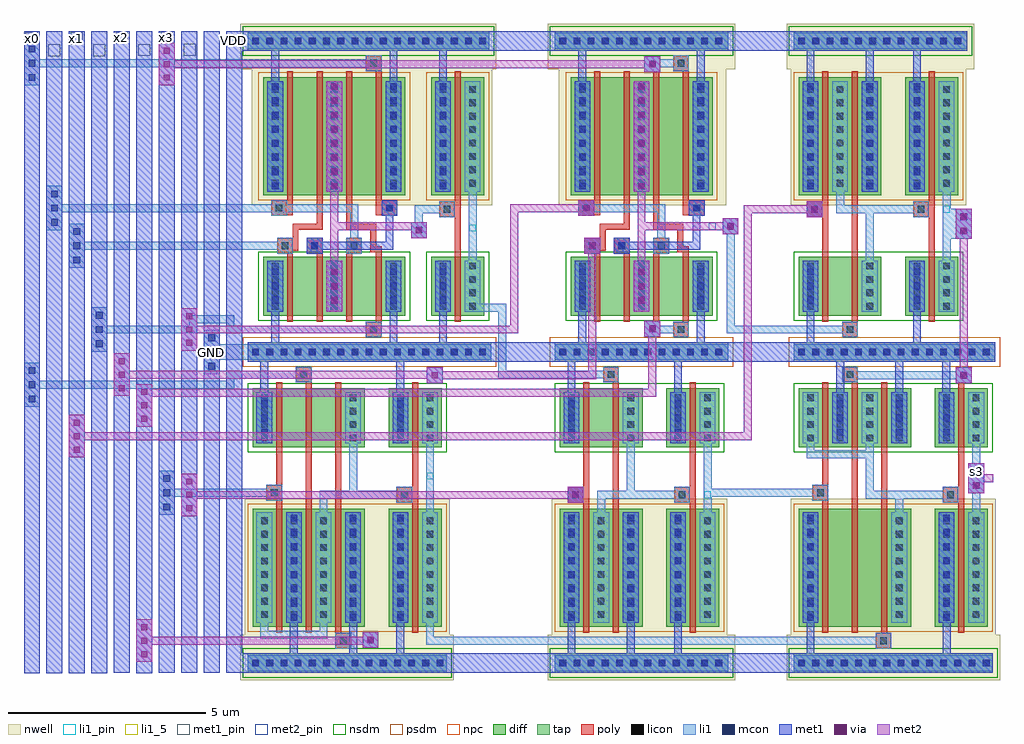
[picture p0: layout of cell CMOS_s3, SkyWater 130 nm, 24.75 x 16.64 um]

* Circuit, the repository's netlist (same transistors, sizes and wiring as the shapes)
* NGSPICE file created from CMOS_s3.ext - technology: sky130A

.subckt CMOS_AND GND AND A B VDD
X0 a_n265_0# B VDD VDD sky130_fd_pr__pfet_01v8 ad=1.8e+12p pd=7.2e+06u as=5.4e+12p ps=2.16e+07u w=3e+06u l=150000u
X1 VDD A a_n265_0# VDD sky130_fd_pr__pfet_01v8 ad=0p pd=0u as=0p ps=0u w=3e+06u l=150000u
X2 a_n265_0# A a_n265_n610# GND sky130_fd_pr__nfet_01v8 ad=9e+11p pd=4.2e+06u as=9e+11p ps=4.2e+06u w=1.5e+06u l=150000u
X3 AND a_n265_0# VDD VDD sky130_fd_pr__pfet_01v8 ad=1.8e+12p pd=7.2e+06u as=0p ps=0u w=3e+06u l=150000u
X4 a_n265_n610# B GND GND sky130_fd_pr__nfet_01v8 ad=0p pd=0u as=1.8e+12p ps=8.4e+06u w=1.5e+06u l=150000u
X5 AND a_n265_0# GND GND sky130_fd_pr__nfet_01v8 ad=9e+11p pd=4.2e+06u as=0p ps=0u w=1.5e+06u l=150000u
.ends

.subckt CMOS_3in_OR GND A B C OR VDD
X0 a_n480_n610# B GND GND sky130_fd_pr__nfet_01v8 ad=1.8e+12p pd=8.4e+06u as=2.7e+12p ps=1.26e+07u w=1.5e+06u l=150000u
X1 OR a_n480_n610# VDD VDD sky130_fd_pr__pfet_01v8 ad=1.8e+12p pd=7.2e+06u as=3.6e+12p ps=1.44e+07u w=3e+06u l=150000u
X2 a_n480_n610# C a_n180_0# VDD sky130_fd_pr__pfet_01v8 ad=1.8e+12p pd=7.2e+06u as=1.8e+12p ps=7.2e+06u w=3e+06u l=150000u
X3 GND A a_n480_n610# GND sky130_fd_pr__nfet_01v8 ad=0p pd=0u as=0p ps=0u w=1.5e+06u l=150000u
X4 OR a_n480_n610# GND GND sky130_fd_pr__nfet_01v8 ad=9e+11p pd=4.2e+06u as=0p ps=0u w=1.5e+06u l=150000u
X5 a_n330_0# A VDD VDD sky130_fd_pr__pfet_01v8 ad=1.8e+12p pd=7.2e+06u as=0p ps=0u w=3e+06u l=150000u
X6 a_n180_0# B a_n330_0# VDD sky130_fd_pr__pfet_01v8 ad=0p pd=0u as=0p ps=0u w=3e+06u l=150000u
X7 GND C a_n480_n610# GND sky130_fd_pr__nfet_01v8 ad=0p pd=0u as=0p ps=0u w=1.5e+06u l=150000u
.ends

.subckt CMOS_XNOR GND XNOR B A_bar A B_bar VDD
X0 XNOR a_n233_n610# GND GND sky130_fd_pr__nfet_01v8 ad=9e+11p pd=4.2e+06u as=2.7e+12p ps=1.26e+07u w=1.5e+06u l=150000u
X1 a_n383_n610# A GND GND sky130_fd_pr__nfet_01v8 ad=9e+11p pd=4.2e+06u as=0p ps=0u w=1.5e+06u l=150000u
X2 a_n233_n610# B a_n383_n610# GND sky130_fd_pr__nfet_01v8 ad=9e+11p pd=4.2e+06u as=0p ps=0u w=1.5e+06u l=150000u
X3 a_n383_0# B_bar VDD VDD sky130_fd_pr__pfet_01v8 ad=1.8e+12p pd=7.2e+06u as=5.4e+12p ps=2.16e+07u w=3e+06u l=150000u
X4 a_n233_n610# A a_n383_0# VDD sky130_fd_pr__pfet_01v8 ad=1.8e+12p pd=7.2e+06u as=0p ps=0u w=3e+06u l=150000u
X5 a_n83_0# A_bar a_n233_n610# VDD sky130_fd_pr__pfet_01v8 ad=1.8e+12p pd=7.2e+06u as=0p ps=0u w=3e+06u l=150000u
X6 a_n83_n610# B_bar a_n233_n610# GND sky130_fd_pr__nfet_01v8 ad=9e+11p pd=4.2e+06u as=0p ps=0u w=1.5e+06u l=150000u
X7 GND A_bar a_n83_n610# GND sky130_fd_pr__nfet_01v8 ad=0p pd=0u as=0p ps=0u w=1.5e+06u l=150000u
X8 XNOR a_n233_n610# VDD VDD sky130_fd_pr__pfet_01v8 ad=1.8e+12p pd=7.2e+06u as=0p ps=0u w=3e+06u l=150000u
X9 VDD B a_n83_0# VDD sky130_fd_pr__pfet_01v8 ad=0p pd=0u as=0p ps=0u w=3e+06u l=150000u
.ends

.subckt CMOS_3in_AND GND A B C OUT VDD
X0 a_n180_n610# B a_n330_n610# GND sky130_fd_pr__nfet_01v8 ad=9e+11p pd=4.2e+06u as=9e+11p ps=4.2e+06u w=1.5e+06u l=150000u
X1 OUT a_n480_0# VDD VDD sky130_fd_pr__pfet_01v8 ad=1.8e+12p pd=7.2e+06u as=5.4e+12p ps=2.16e+07u w=3e+06u l=150000u
X2 VDD A a_n480_0# VDD sky130_fd_pr__pfet_01v8 ad=0p pd=0u as=3.6e+12p ps=1.44e+07u w=3e+06u l=150000u
X3 a_n330_n610# C GND GND sky130_fd_pr__nfet_01v8 ad=0p pd=0u as=1.8e+12p ps=8.4e+06u w=1.5e+06u l=150000u
X4 OUT a_n480_0# GND GND sky130_fd_pr__nfet_01v8 ad=9e+11p pd=4.2e+06u as=0p ps=0u w=1.5e+06u l=150000u
X5 VDD C a_n480_0# VDD sky130_fd_pr__pfet_01v8 ad=0p pd=0u as=0p ps=0u w=3e+06u l=150000u
X6 a_n480_0# B VDD VDD sky130_fd_pr__pfet_01v8 ad=0p pd=0u as=0p ps=0u w=3e+06u l=150000u
X7 a_n480_0# A a_n180_n610# GND sky130_fd_pr__nfet_01v8 ad=9e+11p pd=4.2e+06u as=0p ps=0u w=1.5e+06u l=150000u
.ends

.subckt CMOS_XOR GND XOR B A_bar A B_bar VDD
X0 a_90_0# A_bar XOR VDD sky130_fd_pr__pfet_01v8 ad=1.8e+12p pd=7.2e+06u as=1.8e+12p ps=7.2e+06u w=3e+06u l=150000u
X1 VDD B a_90_0# VDD sky130_fd_pr__pfet_01v8 ad=3.6e+12p pd=1.44e+07u as=0p ps=0u w=3e+06u l=150000u
X2 a_n210_n610# A GND GND sky130_fd_pr__nfet_01v8 ad=9e+11p pd=4.2e+06u as=1.8e+12p ps=8.4e+06u w=1.5e+06u l=150000u
X3 GND A_bar a_90_n610# GND sky130_fd_pr__nfet_01v8 ad=0p pd=0u as=9e+11p ps=4.2e+06u w=1.5e+06u l=150000u
X4 XOR A a_n210_0# VDD sky130_fd_pr__pfet_01v8 ad=0p pd=0u as=1.8e+12p ps=7.2e+06u w=3e+06u l=150000u
X5 a_n210_0# B_bar VDD VDD sky130_fd_pr__pfet_01v8 ad=0p pd=0u as=0p ps=0u w=3e+06u l=150000u
X6 a_90_n610# B_bar XOR GND sky130_fd_pr__nfet_01v8 ad=0p pd=0u as=9e+11p ps=4.2e+06u w=1.5e+06u l=150000u
X7 XOR B a_n210_n610# GND sky130_fd_pr__nfet_01v8 ad=0p pd=0u as=0p ps=0u w=1.5e+06u l=150000u
.ends

.subckt CMOS_s3 GND x0 x0_bar x1 x1_bar x2 x2_bar x3 VDD x3_bar s3
XCMOS_AND_0 GND CMOS_AND_0/AND CMOS_AND_0/A x1 VDD CMOS_AND
XCMOS_AND_1 GND CMOS_AND_1/AND CMOS_AND_1/A x3_bar VDD CMOS_AND
XCMOS_3in_OR_0 GND CMOS_AND_1/AND CMOS_AND_0/AND CMOS_3in_OR_0/C s3 VDD CMOS_3in_OR
XCMOS_XNOR_0 GND CMOS_AND_1/A x0 x1_bar x1 x0_bar VDD CMOS_XNOR
XCMOS_3in_AND_0 GND x2_bar x0 x3 CMOS_3in_OR_0/C VDD CMOS_3in_AND
XCMOS_XOR_0 GND CMOS_AND_0/A x3 x2_bar x2 x3_bar VDD CMOS_XOR
.ends

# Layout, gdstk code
import gdstk
lib = gdstk.Library(unit=1e-6, precision=1e-09)
def R(c, l, rs):  # rectangles x0, y0, x1, y1
    for r in rs: c.add(gdstk.rectangle(r[:2], r[2:], *l))
def A(c, l, x, y, w, h, nx, ny, dx, dy):  # array of equal rectangles
    R(c, l, [(x+i*dx, y+j*dy, x+i*dx+w, y+j*dy+h) for i in range(nx) for j in range(ny)])
nwell = (64, 20)
diff = (65, 20)
tap = (65, 44)
poly = (66, 20)
licon = (66, 44)
li1_5 = (67, 5)
li1_pin = (67, 16)
li1 = (67, 20)
mcon = (67, 44)
met1_pin = (68, 16)
met1 = (68, 20)
via = (68, 44)
met2_pin = (69, 16)
met2 = (69, 20)
nsdm = (93, 44)
psdm = (94, 20)
npc = (95, 20)

cmos_xnor = lib.new_cell('CMOS_XNOR')
R(cmos_xnor, nwell, [(-2.965,-0.25,3.14,3.2), (-3.245,3.2,3.245,4.35)])
R(cmos_xnor, diff, [(-2.665,-3.05,0.935,-1.55), (1.59,-3.05,2.94,-1.55), (-2.665,0,0.935,3), (1.59,0,2.94,3)])
R(cmos_xnor, tap, [(-3.065,-4.22,3.12,-3.72), (-3.065,3.67,3.065,4.17)])
A(cmos_xnor, poly, -2.065, -3.2, 0.15, 1.725, 3, 1, 0.75, 0)
R(cmos_xnor, poly, [(-0.065,-3.6,0.335,-3.2), (0.185,-3.2,0.335,-1.44), (2.19,-3.2,2.34,-0.55), (-2.315,-1.475,-1.915,-1.4), (-1.565,-1.475,-1.165,-1.075), (-0.565,-1.475,-0.165,-1.075), (0.045,-1.44,0.335,-1.29), (-2.315,-1.4,-1.775,-1.075), (0.045,-1.29,0.195,-0.865), (-1.925,-1.075,-1.775,-0.865), (-1.925,-0.865,-1.165,-0.715), (-0.565,-0.865,0.195,-0.715), (-1.315,-0.715,-1.165,3.15), (-0.565,-0.715,-0.415,3.15), (1.79,-0.55,2.34,-0.15), (-2.465,-0.52,-2.065,-0.505), (0.335,-0.52,0.735,-0.505), (-2.465,-0.505,-1.915,-0.12), (0.185,-0.505,0.735,-0.12), (2.19,-0.15,2.34,3.15), (-2.065,-0.12,-1.915,3.15), (0.185,-0.12,0.335,3.15), (-0.065,3.15,0.335,3.55)])
A(cmos_xnor, licon, -2.95, -4.055, 0.17, 0.17, 17, 2, 0.36, 7.89)
A(cmos_xnor, licon, -2.45, -2.895, 0.17, 0.17, 3, 4, 1.5, 0.34)
A(cmos_xnor, licon, 1.805, -2.895, 0.17, 0.17, 1, 4, 0, 0.34)
A(cmos_xnor, licon, 2.555, -2.895, 0.17, 0.17, 1, 4, 0, 0.34)
A(cmos_xnor, licon, -2.45, 0.225, 0.17, 0.17, 3, 8, 1.5, 0.34)
A(cmos_xnor, licon, 1.805, 0.225, 0.17, 0.17, 1, 8, 0, 0.34)
A(cmos_xnor, licon, 2.555, 0.225, 0.17, 0.17, 1, 8, 0, 0.34)
R(cmos_xnor, licon, [(0.05,-3.485,0.22,-3.315), (-2.2,-1.36,-2.03,-1.19), (-1.45,-1.36,-1.28,-1.19), (-0.45,-1.36,-0.28,-1.19), (1.905,-0.435,2.075,-0.265), (-2.35,-0.405,-2.18,-0.235), (0.45,-0.405,0.62,-0.235), (0.05,3.265,0.22,3.435)])
R(cmos_xnor, li1_5, [(1.905,-0.435,2.075,-0.265)])
R(cmos_xnor, li1_pin, [(0.05,-3.485,0.22,-3.315), (-2.2,-1.36,-2.03,-1.19), (2.555,-0.91,2.725,-0.74), (-2.38,-0.445,-2.135,-0.21), (0.05,3.26,0.22,3.43)])
A(cmos_xnor, li1, -2.565, -2.95, 0.4, 1.3, 3, 1, 1.5, 0)
A(cmos_xnor, li1, -2.565, 0.1, 0.4, 2.8, 3, 1, 1.5, 0)
R(cmos_xnor, li1, [(-3.065,-4.17,3.12,-3.77), (-0.065,-3.6,0.335,-3.2), (1.69,-2.95,2.09,-1.65), (2.44,-2.95,2.84,-1.65), (2.54,-1.65,2.74,0.1), (-2.315,-1.475,-1.915,-1.075), (-1.565,-1.475,-1.165,-1.075), (-0.565,-1.475,-0.165,-1.075), (1.08,-1.08,1.48,-0.68), (-0.465,-1.075,-0.265,-0.42), (1.18,-0.68,1.38,-0.45), (1.79,-0.55,2.19,-0.45), (-2.465,-0.52,-2.065,-0.42), (0.335,-0.52,0.735,-0.12), (1.18,-0.45,2.19,-0.25), (-2.465,-0.42,-0.265,-0.22), (1.79,-0.25,2.19,-0.15), (-2.465,-0.22,-2.065,-0.12), (1.69,0.1,2.09,2.9), (2.44,0.1,2.84,2.9), (-0.065,3.15,0.335,3.55), (-3.065,3.72,3.065,4.12)])
A(cmos_xnor, mcon, -2.95, -4.055, 0.17, 0.17, 17, 2, 0.36, 7.89)
A(cmos_xnor, mcon, -2.45, -2.745, 0.17, 0.17, 3, 3, 1.5, 0.36)
A(cmos_xnor, mcon, 1.805, -2.745, 0.17, 0.17, 1, 3, 0, 0.36)
A(cmos_xnor, mcon, -2.45, 0.155, 0.17, 0.17, 3, 8, 1.5, 0.36)
A(cmos_xnor, mcon, 1.805, 0.155, 0.17, 0.17, 1, 8, 0, 0.36)
R(cmos_xnor, mcon, [(-1.45,-1.36,-1.28,-1.19), (1.195,-0.965,1.365,-0.795), (0.45,-0.405,0.62,-0.235)])
R(cmos_xnor, met1_pin, [(-1.165,-4.07,-0.965,-3.87), (-1.165,3.815,-0.965,4.015)])
A(cmos_xnor, met1, -2.565, -2.95, 0.4, 1.3, 3, 1, 1.5, 0)
A(cmos_xnor, met1, -2.565, 0.1, 0.4, 2.8, 3, 1, 1.5, 0)
R(cmos_xnor, met1, [(-3.065,-4.22,3.12,-3.72), (-2.465,-3.72,-2.265,-2.95), (0.535,-3.72,0.735,-2.95), (1.79,-3.72,1.99,-2.95), (1.69,-2.95,2.09,-1.65), (-1.565,-1.475,-1.165,-1.375), (-1.565,-1.375,0.63,-1.175), (-1.565,-1.175,-1.165,-1.075), (0.435,-1.175,0.63,-0.52), (1.08,-1.08,1.48,-0.68), (0.335,-0.52,0.735,-0.12), (1.69,0.1,2.09,2.9), (-2.465,2.9,-2.265,3.67), (0.535,2.9,0.735,3.67), (1.79,2.9,1.99,3.67), (-3.065,3.67,3.065,4.17)])
A(cmos_xnor, via, -0.94, -2.735, 0.15, 0.15, 1, 3, 0, 0.36)
A(cmos_xnor, via, -0.94, 0.165, 0.15, 0.15, 1, 8, 0, 0.36)
R(cmos_xnor, via, [(1.205,-0.955,1.355,-0.805)])
R(cmos_xnor, met2, [(-1.065,-2.95,-0.665,-1.65), (-0.965,-1.65,-0.765,-0.88), (1.08,-1.08,1.48,-0.88), (-0.965,-0.88,1.48,-0.68), (-0.965,-0.68,-0.765,0.1), (-1.065,0.1,-0.665,2.9)])
R(cmos_xnor, nsdm, [(-2.79,-3.175,1.06,-1.425), (1.465,-3.175,3.065,-1.425), (-3.19,3.545,3.19,4.295)])
R(cmos_xnor, psdm, [(-3.19,-4.345,3.245,-3.595), (-2.79,-0.125,1.06,3.125), (1.465,-0.125,3.065,3.125)])
R(cmos_xnor, npc, [(-0.05,-3.585,0.32,-3.215), (-2.3,-1.46,-1.93,-1.09), (-1.55,-1.46,-1.18,-1.09), (-0.55,-1.46,-0.18,-1.09), (1.805,-0.535,2.175,-0.165), (-2.45,-0.505,-2.08,-0.135), (0.35,-0.505,0.72,-0.135), (-0.05,3.165,0.32,3.535)])
cmos_xnor.add(gdstk.Label('GND!', (-1.065,-3.97), layer=68, texttype=16))
cmos_xnor.add(gdstk.Label('VDD', (-1.065,3.915), layer=68, texttype=16))
cmos_xnor.add(gdstk.Label('XNOR', (2.64,-0.825), layer=67, texttype=16))
cmos_xnor.add(gdstk.Label('B', (0.135,3.345), layer=67, texttype=16))
cmos_xnor.add(gdstk.Label('A_bar', (0.135,-3.4), layer=67, texttype=16))
cmos_xnor.add(gdstk.Label('A', (-2.115,-1.275), layer=67, texttype=16))
cmos_xnor.add(gdstk.Label('B_bar', (-2.257,-0.327), layer=67, texttype=16))

cmos_xor = lib.new_cell('CMOS_XOR')
R(cmos_xor, nwell, [(-2.1,-0.25,2.15,3.2), (-2.38,3.2,2.38,4.35)])
R(cmos_xor, diff, [(-1.8,-3.05,1.8,-1.55), (-1.8,0,1.8,3)])
R(cmos_xor, tap, [(-2.2,-4.22,2.2,-3.72), (-2.2,3.67,2.2,4.17)])
A(cmos_xor, poly, -1.2, -3.2, 0.15, 1.725, 3, 1, 0.75, 0)
R(cmos_xor, poly, [(0.8,-3.6,1.2,-3.2), (1.05,-3.2,1.2,-1.44), (-1.45,-1.475,-1.05,-1.4), (-0.7,-1.475,-0.3,-1.075), (0.3,-1.475,0.7,-1.075), (0.91,-1.44,1.2,-1.29), (-1.45,-1.4,-0.91,-1.075), (0.91,-1.29,1.06,-0.865), (-1.06,-1.075,-0.91,-0.865), (-1.06,-0.865,-0.3,-0.715), (0.3,-0.865,1.06,-0.715), (-0.45,-0.715,-0.3,3.15), (0.3,-0.715,0.45,3.15), (-1.6,-0.52,-1.2,-0.505), (1.2,-0.52,1.6,-0.505), (-1.6,-0.505,-1.05,-0.12), (1.05,-0.505,1.6,-0.12), (-1.2,-0.12,-1.05,3.15), (1.05,-0.12,1.2,3.15), (0.8,3.15,1.2,3.55)])
A(cmos_xor, licon, -2.085, -4.055, 0.17, 0.17, 12, 2, 0.36, 7.89)
A(cmos_xor, licon, -1.585, -2.895, 0.17, 0.17, 3, 4, 1.5, 0.34)
A(cmos_xor, licon, -1.585, 0.225, 0.17, 0.17, 3, 8, 1.5, 0.34)
R(cmos_xor, licon, [(0.915,-3.485,1.085,-3.315), (-1.335,-1.36,-1.165,-1.19), (-0.585,-1.36,-0.415,-1.19), (0.415,-1.36,0.585,-1.19), (-1.485,-0.405,-1.315,-0.235), (1.315,-0.405,1.485,-0.235), (0.915,3.265,1.085,3.435)])
R(cmos_xor, li1_pin, [(0.915,-3.485,1.085,-3.315), (-1.335,-1.36,-1.165,-1.19), (-1.515,-0.445,-1.27,-0.21), (0.915,3.26,1.085,3.43)])
A(cmos_xor, li1, -1.7, -2.95, 0.4, 1.3, 3, 1, 1.5, 0)
A(cmos_xor, li1, -1.7, 0.1, 0.4, 2.8, 3, 1, 1.5, 0)
R(cmos_xor, li1, [(-2.2,-4.17,2.2,-3.77), (0.8,-3.6,1.2,-3.2), (-1.45,-1.475,-1.05,-1.075), (-0.7,-1.475,-0.3,-1.075), (0.3,-1.475,0.7,-1.075), (0.4,-1.075,0.6,-0.42), (-1.6,-0.52,-1.2,-0.42), (1.2,-0.52,1.6,-0.12), (-1.6,-0.42,0.6,-0.22), (-1.6,-0.22,-1.2,-0.12), (0.8,3.15,1.2,3.55), (-2.2,3.72,2.2,4.12)])
A(cmos_xor, mcon, -2.085, -4.055, 0.17, 0.17, 12, 2, 0.36, 7.89)
A(cmos_xor, mcon, -1.585, -2.745, 0.17, 0.17, 3, 3, 1.5, 0.36)
A(cmos_xor, mcon, -1.585, 0.155, 0.17, 0.17, 3, 8, 1.5, 0.36)
R(cmos_xor, mcon, [(-0.585,-1.36,-0.415,-1.19), (1.315,-0.405,1.485,-0.235)])
R(cmos_xor, met1_pin, [(-0.3,-4.07,-0.1,-3.87), (-0.3,3.815,-0.1,4.015)])
A(cmos_xor, met1, -1.7, -2.95, 0.4, 1.3, 3, 1, 1.5, 0)
A(cmos_xor, met1, -1.7, 0.1, 0.4, 2.8, 3, 1, 1.5, 0)
R(cmos_xor, met1, [(-2.2,-4.22,2.2,-3.72), (-1.6,-3.72,-1.4,-2.95), (1.4,-3.72,1.6,-2.95), (-0.7,-1.475,-0.3,-1.375), (-0.7,-1.375,1.495,-1.175), (-0.7,-1.175,-0.3,-1.075), (1.3,-1.175,1.495,-0.52), (1.2,-0.52,1.6,-0.12), (-1.6,2.9,-1.4,3.67), (1.4,2.9,1.6,3.67), (-2.2,3.67,2.2,4.17)])
A(cmos_xor, via, -0.075, -2.735, 0.15, 0.15, 1, 3, 0, 0.36)
A(cmos_xor, via, -0.075, 0.165, 0.15, 0.15, 1, 8, 0, 0.36)
R(cmos_xor, met2_pin, [(1.7,-0.87,1.88,-0.69)])
R(cmos_xor, met2, [(-0.2,-2.95,0.2,-1.65), (-0.1,-1.65,0.1,-0.88), (-0.1,-0.88,2.15,-0.68), (-0.1,-0.68,0.1,0.1), (-0.2,0.1,0.2,2.9)])
R(cmos_xor, nsdm, [(-1.925,-3.175,1.925,-1.425), (-2.325,3.545,2.325,4.295)])
R(cmos_xor, psdm, [(-2.325,-4.345,2.325,-3.595), (-1.925,-0.125,1.925,3.125)])
R(cmos_xor, npc, [(0.815,-3.585,1.185,-3.215), (-1.435,-1.46,-1.065,-1.09), (-0.685,-1.46,-0.315,-1.09), (0.315,-1.46,0.685,-1.09), (-1.585,-0.505,-1.215,-0.135), (1.215,-0.505,1.585,-0.135), (0.815,3.165,1.185,3.535)])
cmos_xor.add(gdstk.Label('GND!', (-0.2,-3.97), layer=68, texttype=16))
cmos_xor.add(gdstk.Label('VDD', (-0.2,3.915), layer=68, texttype=16))
cmos_xor.add(gdstk.Label('B', (1,3.345), layer=67, texttype=16))
cmos_xor.add(gdstk.Label('A_bar', (1,-3.4), layer=67, texttype=16))
cmos_xor.add(gdstk.Label('A', (-1.25,-1.275), layer=67, texttype=16))
cmos_xor.add(gdstk.Label('B_bar', (-1.392,-0.327), layer=67, texttype=16))
cmos_xor.add(gdstk.Label('XOR', (1.79,-0.78), layer=69, texttype=16))

cmos_3in_and = lib.new_cell('CMOS_3in_AND')
R(cmos_3in_and, nwell, [(-2.6,-0.25,2.6,3.2), (-2.705,3.2,2.705,4.35)])
R(cmos_3in_and, diff, [(-2.4,-3.05,0.45,-1.55), (1.05,-3.05,2.4,-1.55), (-2.4,0,0.45,3), (1.05,0,2.4,3)])
R(cmos_3in_and, tap, [(-2.525,-4.22,2.58,-3.72), (-2.525,3.67,2.525,4.17)])
R(cmos_3in_and, poly, [(-1.3,-3.6,-0.9,-3.2), (-1.8,-3.2,-1.65,-0.6), (-1.05,-3.2,-0.9,3.15), (-0.3,-3.2,-0.15,3.15), (1.65,-3.2,1.8,-0.55), (-2.05,-0.6,-1.65,-0.2), (1.25,-0.55,1.8,-0.15), (-1.8,-0.2,-1.65,3.15), (1.65,-0.15,1.8,3.15), (-0.3,3.15,0.1,3.55)])
A(cmos_3in_and, licon, -2.41, -4.055, 0.17, 0.17, 14, 2, 0.36, 7.89)
A(cmos_3in_and, licon, -2.185, -2.895, 0.17, 0.17, 1, 4, 0, 0.34)
A(cmos_3in_and, licon, 0.065, -2.895, 0.17, 0.17, 1, 4, 0, 0.34)
A(cmos_3in_and, licon, 1.265, -2.895, 0.17, 0.17, 1, 4, 0, 0.34)
A(cmos_3in_and, licon, 2.015, -2.895, 0.17, 0.17, 1, 4, 0, 0.34)
A(cmos_3in_and, licon, -2.185, 0.225, 0.17, 0.17, 4, 8, 0.75, 0.34)
A(cmos_3in_and, licon, 1.265, 0.225, 0.17, 0.17, 1, 8, 0, 0.34)
A(cmos_3in_and, licon, 2.015, 0.225, 0.17, 0.17, 1, 8, 0, 0.34)
R(cmos_3in_and, licon, [(-1.185,-3.485,-1.015,-3.315), (-1.935,-0.485,-1.765,-0.315), (1.365,-0.435,1.535,-0.265), (-0.185,3.265,-0.015,3.435)])
R(cmos_3in_and, li1_pin, [(-1.185,-3.485,-1.015,-3.315), (2.015,-0.91,2.185,-0.74), (-1.935,-0.485,-1.765,-0.315), (-0.185,3.26,-0.015,3.43)])
A(cmos_3in_and, li1, -2.3, 0.1, 0.4, 2.8, 4, 1, 0.75, 0)
R(cmos_3in_and, li1, [(-2.525,-4.17,2.58,-3.77), (-1.3,-3.6,-0.9,-3.2), (-2.3,-2.95,-1.9,-1.65), (-0.05,-2.95,0.35,-1.65), (1.15,-2.95,1.55,-1.65), (1.9,-2.95,2.3,-1.65), (0.05,-1.65,0.25,-0.45), (2,-1.65,2.2,0.1), (-2.05,-0.6,-1.65,-0.2), (1.25,-0.55,1.65,-0.45), (-0.7,-0.45,1.65,-0.25), (-0.7,-0.25,-0.5,0.1), (1.25,-0.25,1.65,-0.15), (1.15,0.1,1.55,2.9), (1.9,0.1,2.3,2.9), (-2.2,2.9,-2,3.1), (-0.7,2.9,-0.5,3.1), (-2.2,3.1,-0.5,3.3), (-0.3,3.15,0.1,3.55), (-2.525,3.72,2.525,4.12)])
A(cmos_3in_and, mcon, -2.41, -4.055, 0.17, 0.17, 14, 2, 0.36, 7.89)
A(cmos_3in_and, mcon, -2.185, -2.745, 0.17, 0.17, 1, 3, 0, 0.36)
A(cmos_3in_and, mcon, 1.265, -2.745, 0.17, 0.17, 1, 3, 0, 0.36)
A(cmos_3in_and, mcon, -1.435, 0.155, 0.17, 0.17, 1, 8, 0, 0.36)
A(cmos_3in_and, mcon, 0.065, 0.155, 0.17, 0.17, 1, 8, 0, 0.36)
A(cmos_3in_and, mcon, 1.265, 0.155, 0.17, 0.17, 1, 8, 0, 0.36)
R(cmos_3in_and, met1_pin, [(-0.625,-4.07,-0.425,-3.87), (-0.625,3.815,-0.425,4.015)])
R(cmos_3in_and, met1, [(-2.525,-4.22,2.58,-3.72), (-2.2,-3.72,-2,-2.95), (1.25,-3.72,1.45,-2.95), (-2.3,-2.95,-1.9,-1.65), (1.15,-2.95,1.55,-1.65), (-1.55,0.1,-1.15,2.9), (-0.05,0.1,0.35,2.9), (1.15,0.1,1.55,2.9), (-1.45,2.9,-1.25,3.67), (0.05,2.9,0.25,3.67), (1.25,2.9,1.45,3.67), (-2.525,3.67,2.525,4.17)])
R(cmos_3in_and, nsdm, [(-2.525,-3.175,2.525,-1.425), (-2.65,3.545,2.65,4.295)])
R(cmos_3in_and, psdm, [(-2.65,-4.345,2.705,-3.595), (-2.525,-0.125,2.525,3.125)])
R(cmos_3in_and, npc, [(-1.285,-3.585,-0.915,-3.215), (-2.035,-0.585,-1.665,-0.215), (1.265,-0.535,1.635,-0.165), (-0.285,3.165,0.085,3.535)])
cmos_3in_and.add(gdstk.Label('VDD', (-0.525,3.915), layer=68, texttype=16))
cmos_3in_and.add(gdstk.Label('GND!', (-0.525,-3.97), layer=68, texttype=16))
cmos_3in_and.add(gdstk.Label('A', (-0.1,3.345), layer=67, texttype=16))
cmos_3in_and.add(gdstk.Label('B', (-1.1,-3.4), layer=67, texttype=16))
cmos_3in_and.add(gdstk.Label('C', (-1.85,-0.4), layer=67, texttype=16))
cmos_3in_and.add(gdstk.Label('OUT', (2.1,-0.825), layer=67, texttype=16))

cmos_3in_or = lib.new_cell('CMOS_3in_OR')
R(cmos_3in_or, nwell, [(-2.6,-0.25,2.6,3.2), (-2.705,3.2,2.705,4.35)])
R(cmos_3in_or, diff, [(-2.4,-3.05,0.45,-1.55), (1.05,-3.05,2.4,-1.55), (-2.4,0,0.45,3), (1.05,0,2.4,3)])
R(cmos_3in_or, tap, [(-2.525,-4.22,2.58,-3.72), (-2.525,3.67,2.525,4.17)])
R(cmos_3in_or, poly, [(-1.3,-3.6,-0.9,-3.2), (-1.8,-3.2,-1.65,-0.6), (-1.05,-3.2,-0.9,3.15), (-0.3,-3.2,-0.15,3.15), (1.65,-3.2,1.8,-0.55), (-2.05,-0.6,-1.65,-0.2), (1.25,-0.55,1.8,-0.15), (-1.8,-0.2,-1.65,3.15), (1.65,-0.15,1.8,3.15), (-0.45,3.15,-0.05,3.55)])
A(cmos_3in_or, licon, -2.41, -4.055, 0.17, 0.17, 14, 2, 0.36, 7.89)
A(cmos_3in_or, licon, -2.185, -2.895, 0.17, 0.17, 4, 4, 0.75, 0.34)
A(cmos_3in_or, licon, 1.265, -2.895, 0.17, 0.17, 1, 4, 0, 0.34)
A(cmos_3in_or, licon, 2.015, -2.895, 0.17, 0.17, 1, 4, 0, 0.34)
A(cmos_3in_or, licon, -2.185, 0.225, 0.17, 0.17, 1, 8, 0, 0.34)
A(cmos_3in_or, licon, 0.065, 0.225, 0.17, 0.17, 1, 8, 0, 0.34)
A(cmos_3in_or, licon, 1.265, 0.225, 0.17, 0.17, 1, 8, 0, 0.34)
A(cmos_3in_or, licon, 2.015, 0.225, 0.17, 0.17, 1, 8, 0, 0.34)
R(cmos_3in_or, licon, [(-1.185,-3.485,-1.015,-3.315), (-1.935,-0.485,-1.765,-0.315), (1.365,-0.435,1.535,-0.265), (-0.335,3.265,-0.165,3.435)])
R(cmos_3in_or, li1_pin, [(-1.185,-3.485,-1.015,-3.315), (2.015,-1,2.185,-0.83), (-1.935,-0.485,-1.765,-0.315), (-0.335,3.26,-0.165,3.43)])
A(cmos_3in_or, li1, -2.3, -2.95, 0.4, 1.3, 4, 1, 0.75, 0)
R(cmos_3in_or, li1, [(-2.525,-4.17,2.58,-3.77), (-1.3,-3.6,-0.9,-3.2), (1.15,-2.95,1.55,-1.65), (1.9,-2.95,2.3,-1.65), (-2.2,-1.65,-2,-1.48), (-0.7,-1.65,-0.5,-1.48), (2,-1.65,2.2,0.1), (-2.2,-1.48,-0.5,-1.28), (-0.7,-1.28,-0.5,-0.45), (-2.05,-0.6,-1.65,-0.2), (1.25,-0.55,1.65,-0.45), (-0.7,-0.45,1.65,-0.25), (0.05,-0.25,0.25,0.1), (1.25,-0.25,1.65,-0.15), (-2.3,0.1,-1.9,2.9), (-0.05,0.1,0.35,2.9), (1.15,0.1,1.55,2.9), (1.9,0.1,2.3,2.9), (-0.45,3.15,-0.05,3.55), (-2.525,3.72,2.525,4.12)])
A(cmos_3in_or, mcon, -2.41, -4.055, 0.17, 0.17, 14, 2, 0.36, 7.89)
A(cmos_3in_or, mcon, -1.435, -2.745, 0.17, 0.17, 1, 3, 0, 0.36)
A(cmos_3in_or, mcon, 0.065, -2.745, 0.17, 0.17, 1, 3, 0, 0.36)
A(cmos_3in_or, mcon, 1.265, -2.745, 0.17, 0.17, 1, 3, 0, 0.36)
A(cmos_3in_or, mcon, -2.185, 0.155, 0.17, 0.17, 1, 8, 0, 0.36)
A(cmos_3in_or, mcon, 1.265, 0.155, 0.17, 0.17, 1, 8, 0, 0.36)
R(cmos_3in_or, met1_pin, [(-0.625,-4.07,-0.425,-3.87), (-0.625,3.815,-0.425,4.015)])
R(cmos_3in_or, met1, [(-2.525,-4.22,2.58,-3.72), (-1.45,-3.72,-1.25,-2.95), (0.05,-3.72,0.25,-2.95), (1.245,-3.72,1.445,-2.95), (-1.55,-2.95,-1.15,-1.65), (-0.05,-2.95,0.35,-1.65), (1.15,-2.95,1.55,-1.65), (-2.3,0.1,-1.9,2.9), (1.15,0.1,1.55,2.9), (-2.2,2.9,-2,3.67), (1.255,2.9,1.455,3.67), (-2.525,3.67,2.525,4.17)])
R(cmos_3in_or, nsdm, [(-2.525,-3.175,2.525,-1.425), (-2.65,3.545,2.65,4.295)])
R(cmos_3in_or, psdm, [(-2.65,-4.345,2.705,-3.595), (-2.525,-0.125,2.525,3.125)])
R(cmos_3in_or, npc, [(-1.285,-3.585,-0.915,-3.215), (-2.035,-0.585,-1.665,-0.215), (1.265,-0.535,1.635,-0.165), (-0.435,3.165,-0.065,3.535)])
cmos_3in_or.add(gdstk.Label('GND!', (-0.525,-3.97), layer=68, texttype=16))
cmos_3in_or.add(gdstk.Label('VDD', (-0.525,3.915), layer=68, texttype=16))
cmos_3in_or.add(gdstk.Label('A', (-1.85,-0.4), layer=67, texttype=16))
cmos_3in_or.add(gdstk.Label('B', (-1.1,-3.4), layer=67, texttype=16))
cmos_3in_or.add(gdstk.Label('C', (-0.25,3.345), layer=67, texttype=16))
cmos_3in_or.add(gdstk.Label('OR', (2.1,-0.915), layer=67, texttype=16))

cmos_and = lib.new_cell('CMOS_AND')
R(cmos_and, nwell, [(-2.275,-0.25,2.175,3.2), (-2.38,3.2,2.38,4.35)])
R(cmos_and, diff, [(-2.075,-3.05,0.025,-1.55), (0.625,-3.05,1.975,-1.55), (-2.075,0,0.025,3), (0.625,0,1.975,3)])
R(cmos_and, tap, [(-2.2,-4.22,2.2,-3.72), (-2.2,3.67,2.2,4.17)])
R(cmos_and, poly, [(-0.975,-3.6,-0.575,-3.2), (-1.475,-3.2,-1.325,-0.55), (-0.725,-3.2,-0.575,3.15), (1.225,-3.2,1.375,-0.55), (-1.875,-0.55,-1.325,-0.15), (0.825,-0.55,1.375,-0.15), (-1.475,-0.15,-1.325,3.15), (1.225,-0.15,1.375,3.15)])
A(cmos_and, licon, -2.085, -4.055, 0.17, 0.17, 12, 2, 0.36, 7.89)
A(cmos_and, licon, -1.86, -2.895, 0.17, 0.17, 1, 4, 0, 0.34)
A(cmos_and, licon, -0.36, -2.895, 0.17, 0.17, 1, 4, 0, 0.34)
A(cmos_and, licon, 0.84, -2.895, 0.17, 0.17, 1, 4, 0, 0.34)
A(cmos_and, licon, 1.59, -2.895, 0.17, 0.17, 1, 4, 0, 0.34)
A(cmos_and, licon, -1.86, 0.225, 0.17, 0.17, 3, 8, 0.75, 0.34)
A(cmos_and, licon, 0.84, 0.225, 0.17, 0.17, 1, 8, 0, 0.34)
A(cmos_and, licon, 1.59, 0.225, 0.17, 0.17, 1, 8, 0, 0.34)
R(cmos_and, licon, [(-0.86,-3.485,-0.69,-3.315), (-1.76,-0.435,-1.59,-0.265), (0.94,-0.435,1.11,-0.265)])
R(cmos_and, li1_pin, [(-0.86,-3.485,-0.69,-3.315), (-1.76,-0.435,-1.59,-0.265), (1.59,-0.435,1.76,-0.265)])
A(cmos_and, li1, -1.975, 0.1, 0.4, 2.8, 3, 1, 0.75, 0)
R(cmos_and, li1, [(-2.2,-4.17,2.2,-3.77), (-0.975,-3.6,-0.575,-3.2), (-1.975,-2.95,-1.575,-1.65), (-0.475,-2.95,-0.075,-1.65), (0.725,-2.95,1.125,-1.65), (1.475,-2.95,1.875,-1.65), (-0.375,-1.65,-0.175,-0.45), (1.575,-1.65,1.775,0.1), (-1.875,-0.55,-1.475,-0.15), (0.825,-0.55,1.225,-0.45), (-1.125,-0.45,1.225,-0.25), (-1.125,-0.25,-0.925,0.1), (0.825,-0.25,1.225,-0.15), (0.725,0.1,1.125,2.9), (1.475,0.1,1.875,2.9), (-2.2,3.72,2.2,4.12)])
A(cmos_and, mcon, -2.085, -4.055, 0.17, 0.17, 12, 2, 0.36, 7.89)
A(cmos_and, mcon, -1.86, -2.745, 0.17, 0.17, 1, 3, 0, 0.36)
A(cmos_and, mcon, 0.84, -2.745, 0.17, 0.17, 1, 3, 0, 0.36)
A(cmos_and, mcon, -1.86, 0.155, 0.17, 0.17, 1, 8, 0, 0.36)
A(cmos_and, mcon, -0.36, 0.155, 0.17, 0.17, 1, 8, 0, 0.36)
A(cmos_and, mcon, 0.84, 0.155, 0.17, 0.17, 1, 8, 0, 0.36)
R(cmos_and, met1_pin, [(-0.3,-4.07,-0.1,-3.87), (-0.3,3.815,-0.1,4.015)])
R(cmos_and, met1, [(-2.2,-4.22,2.2,-3.72), (-1.875,-3.72,-1.675,-2.95), (0.825,-3.72,1.025,-2.95), (-1.975,-2.95,-1.575,-1.65), (0.725,-2.95,1.125,-1.65), (-1.975,0.1,-1.575,2.9), (-0.475,0.1,-0.075,2.9), (0.725,0.1,1.125,2.9), (-1.875,2.9,-1.675,3.67), (-0.37,2.9,-0.17,3.67), (0.825,2.9,1.025,3.67), (-2.2,3.67,2.2,4.17)])
R(cmos_and, nsdm, [(-2.2,-3.175,2.1,-1.425), (-2.325,3.545,2.325,4.295)])
R(cmos_and, psdm, [(-2.325,-4.345,2.325,-3.595), (-2.2,-0.125,2.1,3.125)])
R(cmos_and, npc, [(-0.96,-3.585,-0.59,-3.215), (-1.86,-0.535,-1.49,-0.165), (0.84,-0.535,1.21,-0.165)])
cmos_and.add(gdstk.Label('GND!', (-0.2,-3.97), layer=68, texttype=16))
cmos_and.add(gdstk.Label('VDD', (-0.2,3.915), layer=68, texttype=16))
cmos_and.add(gdstk.Label('AND', (1.675,-0.35), layer=67, texttype=16))
cmos_and.add(gdstk.Label('A', (-0.775,-3.4), layer=67, texttype=16))
cmos_and.add(gdstk.Label('B', (-1.675,-0.35), layer=67, texttype=16))

cmos_s3 = lib.new_cell('CMOS_s3')
R(cmos_s3, li1, [(1.15,-8.975,1.55,-8.895), (0.86,-8.895,1.55,-8.695), (2.76,-8.895,14.16,-8.695), (1.15,-8.695,1.55,-8.575), (2.76,-8.695,2.96,-8.345), (-4.015,-5.605,-3.615,-5.145), (6.465,-5.18,6.635,-5.01), (-4.015,-5.145,-1.29,-4.945), (10,-5.145,12.56,-4.945), (16.515,-5.06,16.915,-4.3), (-4.015,-4.945,-3.615,-4.485), (-7.435,-2.865,-7.035,-2.405), (-7.435,-2.405,-2.105,-2.205), (16.195,-2.265,16.595,-2.165), (-7.435,-2.205,-7.035,-1.745), (-2.305,-2.205,-2.105,-2.155), (13.71,-2.165,16.595,-1.965), (-2.305,-2.155,-0.54,-1.955), (4.59,-2.145,7.25,-1.945), (-2.875,-2.035,-2.475,-1.675), (16.195,-1.965,16.595,-1.865), (4.59,-1.945,4.79,-0.455), (-2.875,-1.675,-1.765,-1.275), (-5.725,-1.465,-5.325,-1.005), (-2.875,-1.275,-2.475,-0.915), (8.3,-1.085,8.7,-1.005), (-5.725,-1.005,-3.045,-0.805), (-2.305,-1.005,1.235,-0.805), (8.3,-1.005,9.025,-0.805), (10.385,-1.005,13.31,-0.805), (-5.725,-0.805,-5.325,-0.345), (-3.245,-0.805,-3.045,-0.745), (-2.305,-0.805,-2.105,-0.745), (8.3,-0.805,8.7,-0.685), (10.385,-0.805,10.585,1.515), (-3.245,-0.745,-2.105,-0.545), (4.14,-0.455,4.79,-0.255), (-6.295,0.66,-5.895,1.12), (-6.295,1.12,-1.015,1.32), (6.89,1.135,7.06,1.305), (-6.295,1.32,-5.895,1.78), (16.06,1.395,16.595,2.155), (10.28,1.515,10.68,1.915), (-6.865,1.615,-6.465,2.075), (12.525,2.06,12.695,2.23), (-6.865,2.075,-1.165,2.275), (6.74,2.09,6.91,2.26), (-6.865,2.275,-6.465,2.735), (-7.435,5.285,-7.035,5.745), (8.3,5.625,8.7,5.745), (-7.435,5.745,1.235,5.945), (8.3,5.745,9.025,5.945), (-7.435,5.945,-7.035,6.405), (8.3,5.945,8.7,6.025)])
A(cmos_s3, mcon, -3.9, -5.49, 0.17, 0.17, 1, 3, 0, 0.36)
A(cmos_s3, mcon, -7.32, -2.75, 0.17, 0.17, 1, 3, 0, 0.36)
A(cmos_s3, mcon, -2.76, -1.92, 0.17, 0.17, 1, 3, 0, 0.36)
A(cmos_s3, mcon, -5.61, -1.35, 0.17, 0.17, 1, 3, 0, 0.36)
A(cmos_s3, mcon, -6.18, 0.775, 0.17, 0.17, 1, 3, 0, 0.36)
A(cmos_s3, mcon, -6.75, 1.73, 0.17, 0.17, 1, 3, 0, 0.36)
A(cmos_s3, mcon, -7.32, 5.4, 0.17, 0.17, 1, 3, 0, 0.36)
R(cmos_s3, mcon, [(1.265,-8.86,1.435,-8.69), (6.465,-5.18,6.635,-5.01), (16.63,-4.945,16.8,-4.775), (16.63,-4.585,16.8,-4.415), (16.31,-2.15,16.48,-1.98), (8.415,-0.97,8.585,-0.8), (6.89,1.135,7.06,1.305), (16.31,1.51,16.48,1.68), (10.395,1.63,10.565,1.8), (16.31,1.87,16.48,2.04), (12.525,2.06,12.695,2.23), (6.74,2.09,6.91,2.26), (8.415,5.74,8.585,5.91)])
R(cmos_s3, met1_pin, [(-2.76,-1.56,-2.59,-1.39), (-6.82,6.03,-6.515,6.33), (-5.675,6.03,-5.37,6.33), (-4.54,6.035,-4.235,6.335), (-3.39,6.04,-3.085,6.34), (-7.385,6.335,-7.08,6.635), (-6.245,6.335,-5.94,6.635), (-2.215,6.335,-2.045,6.505), (-5.105,6.34,-4.8,6.64), (-3.965,6.34,-3.66,6.64)])
A(cmos_s3, met1, -7.435, -9.62, 0.4, 16.285, 4, 1, 0.57, 0)
A(cmos_s3, met1, -4.015, -9.615, 0.4, 16.28, 3, 1, 0.57, 0)
A(cmos_s3, met1, 10.425, -9.615, 1.66, 0.5, 1, 3, 0, 7.89)
R(cmos_s3, met1, [(-4.585,-9.62,-4.185,6.665), (-5.155,-9.615,-4.755,6.665), (-2.305,-9.615,-1.765,-9.115), (3.285,-9.615,6.025,-9.115), (-2.305,-9.115,-1.905,6.165), (1.15,-8.975,1.55,-8.575), (6.35,-5.295,6.75,-4.895), (16.515,-5.06,16.915,-4.3), (2.78,-2.265,3.18,-1.865), (16.195,-2.265,16.595,-1.865), (4.42,-1.725,6.025,-1.225), (8.3,-1.085,8.7,-0.685), (6.775,1.02,7.175,1.42), (16.195,1.395,16.595,2.155), (10.28,1.515,10.68,1.915), (12.41,1.945,12.81,2.345), (6.625,1.975,7.025,2.375), (8.3,5.625,8.7,6.025), (-2.305,6.165,-1.765,6.665), (4.365,6.165,6.025,6.665)])
A(cmos_s3, via, -4.46, -9.21, 0.15, 0.15, 1, 3, 0, 0.34)
A(cmos_s3, via, -3.32, -5.515, 0.15, 0.15, 1, 3, 0, 0.34)
A(cmos_s3, via, -6.17, -4.025, 0.15, 0.15, 1, 3, 0, 0.34)
A(cmos_s3, via, -4.46, -3.245, 0.15, 0.15, 1, 3, 0, 0.34)
A(cmos_s3, via, -5.03, -2.465, 0.15, 0.15, 1, 3, 0, 0.34)
A(cmos_s3, via, -3.32, -1.32, 0.15, 0.15, 1, 3, 0, 0.34)
A(cmos_s3, via, -3.89, 5.41, 0.15, 0.15, 1, 3, 0, 0.34)
R(cmos_s3, via, [(1.275,-8.85,1.425,-8.7), (6.475,-5.17,6.625,-5.02), (16.64,-4.935,16.79,-4.785), (16.64,-4.575,16.79,-4.425), (2.905,-2.14,3.055,-1.99), (16.32,-2.14,16.47,-1.99), (8.425,-0.96,8.575,-0.81), (6.9,1.145,7.05,1.295), (16.32,1.52,16.47,1.67), (10.405,1.64,10.555,1.79), (16.32,1.88,16.47,2.03), (12.535,2.07,12.685,2.22), (6.75,2.1,6.9,2.25), (8.425,5.75,8.575,5.9)])
R(cmos_s3, met2_pin, [(16.63,-4.585,16.8,-4.415)])
R(cmos_s3, met2, [(-4.585,-9.335,-4.185,-8.895), (1.15,-8.975,1.55,-8.895), (-4.585,-8.895,1.55,-8.695), (-4.585,-8.695,-4.185,-8.255), (1.15,-8.695,1.55,-8.575), (-3.445,-5.64,-3.045,-5.2), (6.35,-5.295,6.75,-5.2), (-3.445,-5.2,6.75,-5), (16.515,-5.06,16.915,-4.78), (-3.445,-5,-3.045,-4.56), (6.35,-5,6.75,-4.895), (16.515,-4.78,17.14,-4.58), (16.515,-4.58,16.915,-4.3), (-6.295,-4.15,-5.895,-3.71), (-6.295,-3.71,11.02,-3.51), (-6.295,-3.51,-5.895,-3.07), (10.82,-3.51,11.02,2.045), (-4.585,-3.37,-4.185,-2.605), (-4.585,-2.605,8.6,-2.405), (-5.155,-2.59,-4.755,-2.15), (-4.585,-2.405,-4.185,-2.29), (8.4,-2.405,8.6,-1.085), (2.78,-2.265,3.18,-2.165), (16.195,-2.265,16.595,-1.865), (2.78,-2.165,7.075,-2.15), (-5.155,-2.15,7.075,-1.965), (-5.155,-1.965,3.18,-1.95), (6.875,-1.965,7.075,1.02), (-5.155,-1.95,-4.755,-1.51), (2.78,-1.95,3.18,-1.865), (16.295,-1.865,16.495,1.395), (-3.445,-1.445,-3.045,-1.005), (8.3,-1.085,8.7,-0.685), (-3.445,-1.005,5.1,-0.805), (-3.445,-0.805,-3.045,-0.365), (4.9,-0.805,5.1,2.075), (6.775,1.02,7.175,1.42), (16.195,1.395,16.595,2.155), (10.28,1.515,10.68,1.915), (12.41,1.945,12.81,2.045), (6.625,1.975,7.025,2.075), (10.82,2.045,12.81,2.245), (4.9,2.075,7.025,2.275), (12.41,2.245,12.81,2.345), (6.625,2.275,7.025,2.375), (-4.015,5.285,-3.615,5.725), (8.3,5.625,8.7,5.725), (-4.015,5.725,8.7,5.925), (-4.015,5.925,-3.615,6.365), (8.3,5.925,8.7,6.025)])
cmos_s3.add(gdstk.Reference(cmos_xnor, (1.3,2.495)))
cmos_s3.add(gdstk.Reference(cmos_xor, (8.225,2.495)))
cmos_s3.add(gdstk.Reference(cmos_3in_and, (0.76,-5.445), x_reflection=True))
cmos_s3.add(gdstk.Reference(cmos_3in_or, (14.61,-5.445), x_reflection=True))
cmos_s3.add(gdstk.Reference(cmos_and, (8.225,-5.445), x_reflection=True))
cmos_s3.add(gdstk.Reference(cmos_and, (14.285,2.495)))
cmos_s3.add(gdstk.Label('GND', (-2.675,-1.475), layer=68, texttype=16))
cmos_s3.add(gdstk.Label('x0', (-7.232,6.485), layer=68, texttype=16))
cmos_s3.add(gdstk.Label('x0_bar', (-6.667,6.18), layer=68, texttype=16))
cmos_s3.add(gdstk.Label('x1', (-6.092,6.485), layer=68, texttype=16))
cmos_s3.add(gdstk.Label('x1_bar', (-5.522,6.18), layer=68, texttype=16))
cmos_s3.add(gdstk.Label('x2', (-4.952,6.49), layer=68, texttype=16))
cmos_s3.add(gdstk.Label('x2_bar', (-4.387,6.185), layer=68, texttype=16))
cmos_s3.add(gdstk.Label('x3', (-3.812,6.49), layer=68, texttype=16))
cmos_s3.add(gdstk.Label('VDD', (-2.13,6.42), layer=68, texttype=16))
cmos_s3.add(gdstk.Label('x3_bar', (-3.237,6.19), layer=68, texttype=16))
cmos_s3.add(gdstk.Label('s3', (16.715,-4.5), layer=69, texttype=16))

lib.write_gds('CMOS_s3.gds')
